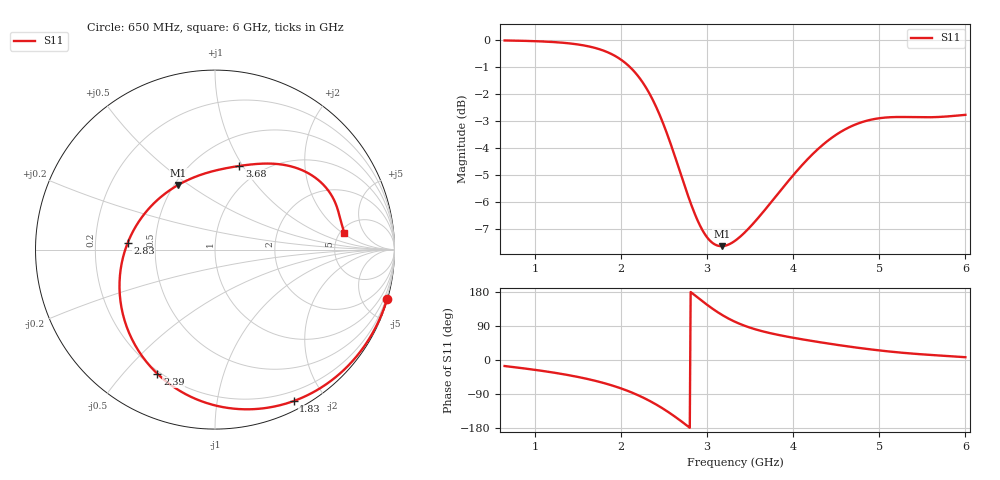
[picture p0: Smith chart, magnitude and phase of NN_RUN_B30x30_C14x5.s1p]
! IGNION VIRTUAL ANTENNA LIBRARY
! NN_RUN_B30x30_C14x5
! Virtual Antenna™ RUN mXTEND™: NN02-224 12.0 mm x 3.0 mm x 2.4 mm
! https://ignion.io/product/run-mxtend/
! Board: 30 mm x 30 mm
! Clearance Area: 14 mm x 5 mm
! Feeding line: straight line; 5mm x 2mm
! Applications: Wearables
! Frequency range 0.65GHz to 6GHz, step 10MHz
! Number of ports 1
! This product and its use is protected by at least one or more of the following patents and patent
! applications US 8,203,492 B2; US 8,237,615 B2; PCT/EP2013/064692; WO 2014/012842 A1; US 2019/190122 A1;
! US 62/072,671; and other domestic and international patents pending. Additional information about
! patents related to this product is available at https://ignion.io/files/Patent-list-NN.pdf, all
! rights reserved. Copyright, Ignion 2021.
! Need more help? Your platform is much different than these examples in the manual? Use our
! Fast Track service (https://ignion.io/fast-track/), for free, and get a personalized antenna design in
! just 24 hours.
! Touchstone port 1 = "Series Port"
! IE3D S-Parameters Output Version 2.0
# GHZ S MA R 50
! Nport = 1
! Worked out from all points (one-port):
!   536 points, 650 MHz to 6 GHz, reference 50 ohm
!   lowest |S11| = -7.6 dB at 3.17 GHz (marker M1), VSWR 2.42, Z = 26.2 + j22.8 ohm
!   |S11| at or under -10 dB: nowhere
!   S11 on the Smith chart (normalised r, x): 650 MHz: 0.07, -7.15; 1.83 GHz: 0.09, -1.64; 2.39 GHz: 0.19, -0.62; 2.83 GHz: 0.34, +0.03; 3.68 GHz: 0.79, +0.97; 6 GHz: 5.43, +2.14
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0.65  0.9974 -15.9
1.01  0.9943 -26.2
1.32  0.9879 -37.0
1.59  0.9751 -48.9
1.71  0.9651 -55.3
1.83  0.9508 -62.6
1.99  0.9215 -74.0
2.1  0.892 -83.3
2.2  0.8565 -93.0
2.3  0.8115 -103.9
2.39  0.7626 -114.9
2.53  0.6738 -134.3
2.6  0.6266 -145.0
2.66  0.5865 -154.7
2.74  0.5366 -168.3
2.83  0.4885 175.8
2.91  0.4556 161.6
2.99  0.4328 147.6
3.08  0.4186 132.8
3.17  0.4145 119.6
3.33  0.4247 100.3
3.68  0.4857 73.7
4  0.5609 58.7
4.33  0.636 46.2
4.67  0.6909 34.8
4.99  0.7153 25.5
5.34  0.7192 17.7
6  0.7261 7.4
